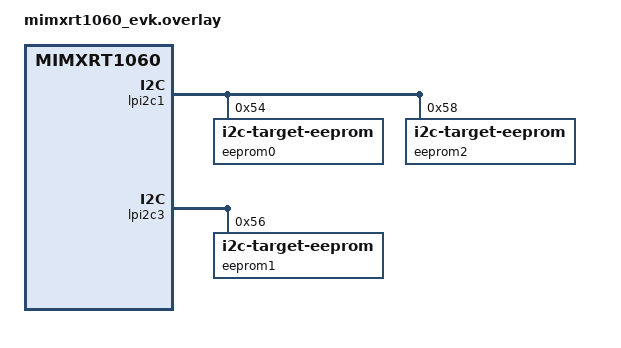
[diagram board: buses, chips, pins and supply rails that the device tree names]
/*
 * Copyright 2023 NXP
 *
 * SPDX-License-Identifier: Apache-2.0
 */

&pinctrl {
	pinmux_lpi2c3: pinmux_lpi2c3 {
		group0 {
			pinmux = <&iomuxc_gpio_ad_b1_06_lpi2c3_sda>,
				<&iomuxc_gpio_ad_b1_07_lpi2c3_scl>;
			drive-strength = "r0-6";
			drive-open-drain;
			slew-rate = "slow";
			nxp,speed = "100-mhz";
			input-enable;
		};
	};
};

/* To test this sample, connect J22.2 <-> J24.9 and J22.1 <-> J24.10 */

&lpi2c1 {
	status = "okay";
	eeprom0: eeprom@54 {
		compatible = "zephyr,i2c-target-eeprom";
		reg = <0x54>;
		size = <256>;
	};
	eeprom2: eeprom@58 {
		compatible = "zephyr,i2c-target-eeprom";
		reg = <0x58>;
		size = <4096>;
		address-width = <16>;
		read-only;
	};
};

&lpi2c3 {
	status = "okay";
	pinctrl-0 = <&pinmux_lpi2c3>;
	pinctrl-names = "default";
	eeprom1: eeprom@56 {
		compatible = "zephyr,i2c-target-eeprom";
		reg = <0x56>;
		size = <256>;
	};
};
